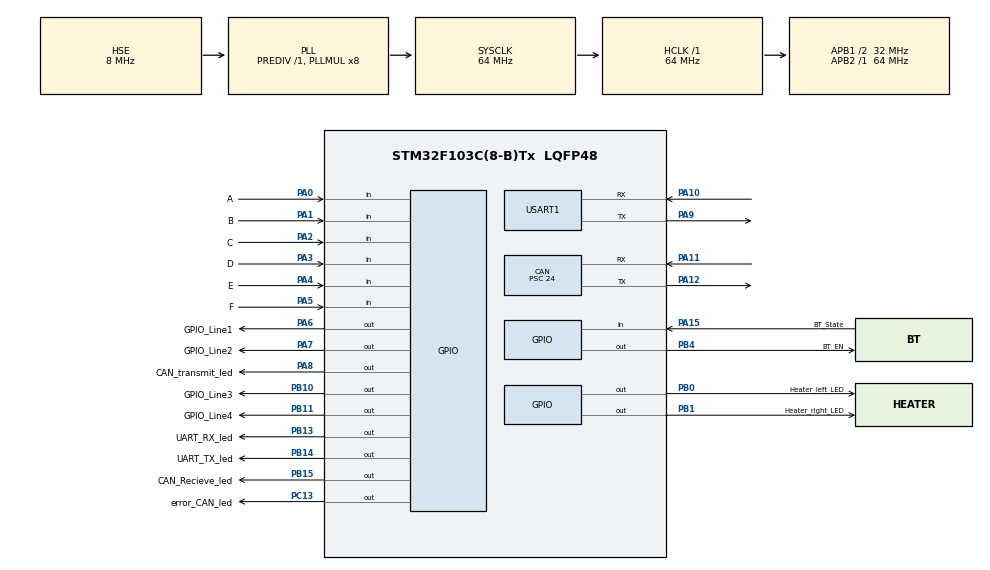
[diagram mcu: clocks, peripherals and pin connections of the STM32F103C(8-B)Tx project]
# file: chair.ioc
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CAN.ABOM=ENABLE
CAN.AWUM=ENABLE
CAN.BS1=CAN_BS1_13TQ
CAN.BS2=CAN_BS2_2TQ
CAN.CalculateBaudRate=83333
CAN.CalculateTimeBit=12000
CAN.CalculateTimeQuantum=750.0
CAN.Mode=CAN_MODE_SILENT_LOOPBACK
CAN.NART=DISABLE
CAN.Prescaler=24
CAN.SJW=CAN_SJW_2TQ
Dma.Request0=USART1_RX
Dma.Request1=USART1_TX
Dma.USART1_RX.0.Direction=DMA_PERIPH_TO_MEMORY
Dma.USART1_RX.0.Instance=DMA1_Channel5
Dma.USART1_RX.0.MemDataAlignment=DMA_MDATAALIGN_BYTE
Dma.USART1_RX.0.MemInc=DMA_MINC_ENABLE
Dma.USART1_RX.0.Mode=DMA_NORMAL
Dma.USART1_RX.0.PeriphDataAlignment=DMA_PDATAALIGN_BYTE
Dma.USART1_RX.0.PeriphInc=DMA_PINC_DISABLE
Dma.USART1_RX.0.Priority=DMA_PRIORITY_LOW
Dma.USART1_TX.1.Direction=DMA_MEMORY_TO_PERIPH
Dma.USART1_TX.1.Instance=DMA1_Channel4
Dma.USART1_TX.1.MemDataAlignment=DMA_MDATAALIGN_BYTE
Dma.USART1_TX.1.MemInc=DMA_MINC_ENABLE
Dma.USART1_TX.1.Mode=DMA_NORMAL
Dma.USART1_TX.1.PeriphDataAlignment=DMA_PDATAALIGN_BYTE
Dma.USART1_TX.1.PeriphInc=DMA_PINC_DISABLE
Dma.USART1_TX.1.Priority=DMA_PRIORITY_LOW
FREERTOS.Tasks01=mainTask,24,128,StartMainTask,Default,NULL,Dynamic,NULL,NULL;CANnetwork,27,128,StartCANnetwork,Default,NULL,Dynamic,NULL,NULL;Bluetooth,27,128,StartBluetooth,Default,NULL,Dynamic,NULL,NULL
IWDG.Prescaler=IWDG_PRESCALER_256
Mcu.Family=STM32F1
Mcu.Name=STM32F103C(8-B)Tx
Mcu.Package=LQFP48
NVIC.CAN1_SCE_IRQn=true\:5\:0\:false\:false\:true\:true\:true\:true\:true
NVIC.DMA1_Channel4_IRQn=true\:5\:0\:false\:false\:true\:true\:false\:true\:true
NVIC.DMA1_Channel5_IRQn=true\:5\:0\:false\:false\:true\:true\:false\:true\:true
NVIC.PriorityGroup=NVIC_PRIORITYGROUP_4
NVIC.TIM4_IRQn=true\:15\:0\:false\:false\:true\:false\:false\:true\:true
NVIC.TimeBase=TIM4_IRQn
NVIC.TimeBaseIP=TIM4
NVIC.USART1_IRQn=true\:5\:0\:false\:false\:true\:true\:true\:true\:true
NVIC.USB_LP_CAN1_RX0_IRQn=true\:5\:0\:false\:false\:true\:true\:true\:true\:true
PA0-WKUP.GPIO_Label=A
PA0-WKUP.GPIO_PuPd=GPIO_PULLDOWN
PA0-WKUP.Signal=GPIO_Input
PA1.GPIO_Label=B
PA1.GPIO_PuPd=GPIO_PULLDOWN
PA1.Signal=GPIO_Input
PA10.Mode=Asynchronous
PA10.Signal=USART1_RX
PA11.Mode=CAN_Activate
PA11.Signal=CAN_RX
PA12.Mode=CAN_Activate
PA12.Signal=CAN_TX
PA13.Mode=Trace_Asynchronous_SW
PA13.Signal=SYS_JTMS-SWDIO
PA14.Mode=Trace_Asynchronous_SW
PA14.Signal=SYS_JTCK-SWCLK
PA15.GPIO_Label=BT_State
PA15.Signal=GPIO_Input
PA2.GPIO_Label=C
PA2.GPIO_PuPd=GPIO_PULLDOWN
PA2.Signal=GPIO_Input
PA3.GPIO_Label=D
PA3.GPIO_PuPd=GPIO_PULLDOWN
PA3.Signal=GPIO_Input
PA4.GPIO_Label=E
PA4.GPIO_PuPd=GPIO_PULLDOWN
PA4.Signal=GPIO_Input
PA5.GPIO_Label=F
PA5.GPIO_PuPd=GPIO_PULLDOWN
PA5.Signal=GPIO_Input
PA6.GPIO_Label=GPIO_Line1
PA6.Signal=GPIO_Output
PA7.GPIO_Label=GPIO_Line2
PA7.Signal=GPIO_Output
PA8.GPIO_Label=CAN_transmit_led
PA8.Signal=GPIO_Output
PA9.Mode=Asynchronous
PA9.Signal=USART1_TX
PB0.GPIO_Label=Heater_left_LED
PB0.GPIO_ModeDefaultOutputPP=GPIO_MODE_OUTPUT_OD
PB0.GPIO_PuPd=GPIO_NOPULL
PB0.Signal=GPIO_Output
PB1.GPIO_Label=Heater_right_LED
PB1.GPIO_ModeDefaultOutputPP=GPIO_MODE_OUTPUT_OD
PB1.GPIO_PuPd=GPIO_NOPULL
PB1.Signal=GPIO_Output
PB10.GPIO_Label=GPIO_Line3
PB10.Signal=GPIO_Output
PB11.GPIO_Label=GPIO_Line4
PB11.Signal=GPIO_Output
PB13.GPIO_Label=UART_RX_led
PB13.GPIO_ModeDefaultOutputPP=GPIO_MODE_OUTPUT_OD
PB13.GPIO_PuPd=GPIO_NOPULL
PB13.Signal=GPIO_Output
PB14.GPIO_Label=UART_TX_led
PB14.GPIO_ModeDefaultOutputPP=GPIO_MODE_OUTPUT_OD
PB14.GPIO_PuPd=GPIO_NOPULL
PB14.Signal=GPIO_Output
PB15.GPIO_Label=CAN_Recieve_led
PB15.GPIO_ModeDefaultOutputPP=GPIO_MODE_OUTPUT_OD
PB15.GPIO_PuPd=GPIO_NOPULL
PB15.Signal=GPIO_Output
PB3.Mode=Trace_Asynchronous_SW
PB3.Signal=SYS_JTDO-TRACESWO
PB4.GPIO_Label=BT_EN
PB4.Signal=GPIO_Output
PC13-TAMPER-RTC.GPIO_Label=error_CAN_led
PC13-TAMPER-RTC.GPIO_ModeDefaultOutputPP=GPIO_MODE_OUTPUT_PP
PC13-TAMPER-RTC.Signal=GPIO_Output
PC14-OSC32_IN.Mode=LSE-External-Oscillator
PC14-OSC32_IN.Signal=RCC_OSC32_IN
PC15-OSC32_OUT.Mode=LSE-External-Oscillator
PC15-OSC32_OUT.Signal=RCC_OSC32_OUT
PD0-OSC_IN.Mode=HSE-External-Oscillator
PD0-OSC_IN.Signal=RCC_OSC_IN
PD1-OSC_OUT.Mode=HSE-External-Oscillator
PD1-OSC_OUT.Signal=RCC_OSC_OUT
ProjectManager.HeapSize=0x200
ProjectManager.StackSize=0x400
ProjectManager.TargetToolchain=EWARM V8.32
RCC.AHBFreq_Value=64000000
RCC.APB1CLKDivider=RCC_HCLK_DIV2
RCC.APB1Freq_Value=32000000
RCC.APB1TimFreq_Value=64000000
RCC.APB2Freq_Value=64000000
RCC.APB2TimFreq_Value=64000000
RCC.HCLKFreq_Value=64000000
RCC.PLLMUL=RCC_PLL_MUL8
RCC.PLLSourceVirtual=RCC_PLLSOURCE_HSE
RCC.SYSCLKFreq_VALUE=64000000
RCC.SYSCLKSource=RCC_SYSCLKSOURCE_PLLCLK
RCC.USBFreq_Value=64000000
USART1.VirtualMode=VM_ASYNC
VP_FREERTOS_VS_CMSIS_V2.Mode=CMSIS_V2
VP_IWDG_VS_IWDG.Mode=IWDG_Activate
VP_SYS_VS_tim4.Mode=TIM4
board=custom

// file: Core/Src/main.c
/* USER CODE BEGIN Header */
/**
  ******************************************************************************
  * @file           : main.c
  * @brief          : Main program body
  ******************************************************************************
  * @attention
  *
  * Copyright (c) 2024 STMicroelectronics.
  * All rights reserved.
  *
  * This software is licensed under terms that can be found in the LICENSE file
  * in the root directory of this software component.
  * If no LICENSE file comes with this software, it is provided AS-IS.
  *
  ******************************************************************************
  */
/* USER CODE END Header */
#include "main.h"
#include "cmsis_os.h"

/* USER CODE BEGIN Includes */
#include "string.h"
#include "stdio.h"

CAN_TxHeaderTypeDef TxHeader;
CAN_RxHeaderTypeDef RxHeader;
uint8_t TxData[8] ={0,};
uint8_t RxData[8] ={0,};
uint8_t Usart_RX_Tail=0, Usart_RX_Head=0;
uint8_t Usart_TX_Tail=0, Usart_TX_Head=0;;
uint32_t TxMailbox=0, ErrorCNT=0;
uint8_t CAN_Tx_buffer_tail=0,CAN_Tx_buffer_head=0,RTS=1;
typedef struct
{
  uint8_t TxData[8];
  uint32_t StdID;
} CAN_TxBuf_TypeDef;
CAN_TxBuf_TypeDef CAN_TxBuf_ring[16];

uint8_t CAN_Rx_buffer_tail=0,CAN_Rx_buffer_head=0;
typedef struct
{
  uint8_t RxData[8];
  uint32_t StdID;
} CAN_RxBuf_TypeDef;
CAN_RxBuf_TypeDef CAN_RxBuf_ring[16];

typedef struct
{
  uint8_t Usart_buf_RX[15];
} Usart_RxBuf_TypeDef;
Usart_RxBuf_TypeDef Usart_RxBuf_ring[16];//message format is Ch232-5, ID-2, DATA 8
typedef struct
{
  uint8_t Usart_buf_TX[15];
} Usart_TxBuf_TypeDef;
Usart_TxBuf_TypeDef Usart_TxBuf_ring[16];//message to send

/* USER CODE END Includes */

CAN_HandleTypeDef hcan;

IWDG_HandleTypeDef hiwdg;

UART_HandleTypeDef huart1;
DMA_HandleTypeDef hdma_usart1_rx;
DMA_HandleTypeDef hdma_usart1_tx;

/* Definitions for mainTask */
osThreadId_t mainTaskHandle;
const osThreadAttr_t mainTask_attributes = {
  .name = "mainTask",
  .stack_size = 128 * 4,
  .priority = (osPriority_t) osPriorityNormal,
};
/* Definitions for CANnetwork */
osThreadId_t CANnetworkHandle;
const osThreadAttr_t CANnetwork_attributes = {
  .name = "CANnetwork",
  .stack_size = 128 * 4,
  .priority = (osPriority_t) osPriorityNormal3,
};
/* Definitions for Bluetooth */
osThreadId_t BluetoothHandle;
const osThreadAttr_t Bluetooth_attributes = {
  .name = "Bluetooth",
  .stack_size = 128 * 4,
  .priority = (osPriority_t) osPriorityNormal3,
};

void SystemClock_Config(void);
static void MX_GPIO_Init(void);
static void MX_DMA_Init(void);
static void MX_CAN_Init(void);
static void MX_IWDG_Init(void);
static void MX_USART1_UART_Init(void);
void StartMainTask(void *argument);
void StartCANnetwork(void *argument);
void StartBluetooth(void *argument);

int main(void)
{

  /* MCU Configuration--------------------------------------------------------*/

  /* Reset of all peripherals, Initializes the Flash interface and the Systick. */
  HAL_Init();

  /* Configure the system clock */
  SystemClock_Config();

  /* Initialize all configured peripherals */
  MX_GPIO_Init();
  MX_DMA_Init();
  MX_CAN_Init();
#ifndef Debug
  MX_IWDG_Init();
#endif
  MX_USART1_UART_Init();
  /* USER CODE BEGIN 2 */
#ifdef Debug
  printf("xyi pizda \r\n");
#endif
  /* USER CODE END 2 */

  /* Init scheduler */
  osKernelInitialize();

  /* Create the thread(s) */
  /* creation of mainTask */
  mainTaskHandle = osThreadNew(StartMainTask, NULL, &mainTask_attributes);

  /* creation of CANnetwork */
  CANnetworkHandle = osThreadNew(StartCANnetwork, NULL, &CANnetwork_attributes);

  /* creation of Bluetooth */
  BluetoothHandle = osThreadNew(StartBluetooth, NULL, &Bluetooth_attributes);

  /* Start scheduler */
  osKernelStart();

  /* We should never get here as control is now taken by the scheduler */
  /* Infinite loop */
  while (1)
  {

  }
}

void SystemClock_Config(void)
{
  RCC_OscInitTypeDef RCC_OscInitStruct = {0};
  RCC_ClkInitTypeDef RCC_ClkInitStruct = {0};

  /** Initializes the RCC Oscillators according to the specified parameters
  * in the RCC_OscInitTypeDef structure.
  */
  RCC_OscInitStruct.OscillatorType = RCC_OSCILLATORTYPE_LSI|RCC_OSCILLATORTYPE_HSE;
  RCC_OscInitStruct.HSEState = RCC_HSE_ON;
  RCC_OscInitStruct.HSEPredivValue = RCC_HSE_PREDIV_DIV1;
  RCC_OscInitStruct.HSIState = RCC_HSI_ON;
  RCC_OscInitStruct.LSIState = RCC_LSI_ON;
  RCC_OscInitStruct.PLL.PLLState = RCC_PLL_ON;
  RCC_OscInitStruct.PLL.PLLSource = RCC_PLLSOURCE_HSE;
  RCC_OscInitStruct.PLL.PLLMUL = RCC_PLL_MUL8;
  if (HAL_RCC_OscConfig(&RCC_OscInitStruct) != HAL_OK)
  {
    Error_Handler();
  }

  /** Initializes the CPU, AHB and APB buses clocks
  */
  RCC_ClkInitStruct.ClockType = RCC_CLOCKTYPE_HCLK|RCC_CLOCKTYPE_SYSCLK
                              |RCC_CLOCKTYPE_PCLK1|RCC_CLOCKTYPE_PCLK2;
  RCC_ClkInitStruct.SYSCLKSource = RCC_SYSCLKSOURCE_PLLCLK;
  RCC_ClkInitStruct.AHBCLKDivider = RCC_SYSCLK_DIV1;
  RCC_ClkInitStruct.APB1CLKDivider = RCC_HCLK_DIV2;
  RCC_ClkInitStruct.APB2CLKDivider = RCC_HCLK_DIV1;

  if (HAL_RCC_ClockConfig(&RCC_ClkInitStruct, FLASH_LATENCY_2) != HAL_OK)
  {
    Error_Handler();
  }
}

static void MX_CAN_Init(void)
{

  /* USER CODE BEGIN CAN_Init 0 */
  CAN_FilterTypeDef sFilterConfig;
  /* USER CODE END CAN_Init 0 */

  hcan.Instance = CAN1;
  hcan.Init.Prescaler = 24;
  hcan.Init.Mode = CAN_MODE_SILENT_LOOPBACK;
  hcan.Init.SyncJumpWidth = CAN_SJW_2TQ;
  hcan.Init.TimeSeg1 = CAN_BS1_13TQ;
  hcan.Init.TimeSeg2 = CAN_BS2_2TQ;
  hcan.Init.TimeTriggeredMode = DISABLE;
  hcan.Init.AutoBusOff = ENABLE;
  hcan.Init.AutoWakeUp = ENABLE;
  hcan.Init.AutoRetransmission = DISABLE;
  hcan.Init.ReceiveFifoLocked = DISABLE;
  hcan.Init.TransmitFifoPriority = DISABLE;
  if (HAL_CAN_Init(&hcan) != HAL_OK)
  {
    Error_Handler();
  }
  /* USER CODE BEGIN CAN_Init 2 */
  sFilterConfig.FilterBank=0;
  sFilterConfig.FilterMode=CAN_FILTERMODE_IDMASK;
  sFilterConfig.FilterScale=CAN_FILTERSCALE_16BIT;
  sFilterConfig.FilterIdHigh=0x0000;
  sFilterConfig.FilterIdLow=0x0000;
  sFilterConfig.FilterMaskIdHigh=0x0000;
  sFilterConfig.FilterMaskIdLow=0x0000;
  sFilterConfig.FilterFIFOAssignment=CAN_RX_FIFO0;
  sFilterConfig.FilterActivation=ENABLE;
  if (HAL_CAN_ConfigFilter(&hcan, &sFilterConfig)!=HAL_OK)
  {
    Error_Handler();
  }
  /* USER CODE END CAN_Init 2 */

}

static void MX_IWDG_Init(void)
{

  hiwdg.Instance = IWDG;
  hiwdg.Init.Prescaler = IWDG_PRESCALER_256;
  hiwdg.Init.Reload = 4095;
  if (HAL_IWDG_Init(&hiwdg) != HAL_OK)
  {
    Error_Handler();
  }

}

static void MX_USART1_UART_Init(void)
{

  huart1.Instance = USART1;
  huart1.Init.BaudRate = 115200;
  huart1.Init.WordLength = UART_WORDLENGTH_8B;
  huart1.Init.StopBits = UART_STOPBITS_1;
  huart1.Init.Parity = UART_PARITY_NONE;
  huart1.Init.Mode = UART_MODE_TX_RX;
  huart1.Init.HwFlowCtl = UART_HWCONTROL_NONE;
  huart1.Init.OverSampling = UART_OVERSAMPLING_16;
  if (HAL_UART_Init(&huart1) != HAL_OK)
  {
    Error_Handler();
  }

}

static void MX_DMA_Init(void)
{

  /* DMA controller clock enable */
  __HAL_RCC_DMA1_CLK_ENABLE();

  /* DMA interrupt init */
  /* DMA1_Channel4_IRQn interrupt configuration */
  HAL_NVIC_SetPriority(DMA1_Channel4_IRQn, 5, 0);
  HAL_NVIC_EnableIRQ(DMA1_Channel4_IRQn);
  /* DMA1_Channel5_IRQn interrupt configuration */
  HAL_NVIC_SetPriority(DMA1_Channel5_IRQn, 5, 0);
  HAL_NVIC_EnableIRQ(DMA1_Channel5_IRQn);

}

static void MX_GPIO_Init(void)
{
  GPIO_InitTypeDef GPIO_InitStruct = {0};

  /* GPIO Ports Clock Enable */
  __HAL_RCC_GPIOC_CLK_ENABLE();
  __HAL_RCC_GPIOD_CLK_ENABLE();
  __HAL_RCC_GPIOA_CLK_ENABLE();
  __HAL_RCC_GPIOB_CLK_ENABLE();

  /*Configure GPIO pin Output Level */
  HAL_GPIO_WritePin(error_CAN_led_GPIO_Port, error_CAN_led_Pin, GPIO_PIN_RESET);

  /*Configure GPIO pin Output Level */
  HAL_GPIO_WritePin(GPIOA, GPIO_Line1_Pin|GPIO_Line2_Pin|CAN_transmit_led_Pin, GPIO_PIN_RESET);

  /*Configure GPIO pin Output Level */
  HAL_GPIO_WritePin(GPIOB, Heater_left_LED_Pin|Heater_right_LED_Pin|GPIO_Line3_Pin|GPIO_Line4_Pin
                          |UART_RX_led_Pin|UART_TX_led_Pin|CAN_Recieve_led_Pin|BT_EN_Pin, GPIO_PIN_RESET);

  /*Configure GPIO pin : error_CAN_led_Pin */
  GPIO_InitStruct.Pin = error_CAN_led_Pin;
  GPIO_InitStruct.Mode = GPIO_MODE_OUTPUT_PP;
  GPIO_InitStruct.Pull = GPIO_NOPULL;
  GPIO_InitStruct.Speed = GPIO_SPEED_FREQ_LOW;
  HAL_GPIO_Init(error_CAN_led_GPIO_Port, &GPIO_InitStruct);

  /*Configure GPIO pins : A_Pin B_Pin C_Pin D_Pin
                           E_Pin F_Pin */
  GPIO_InitStruct.Pin = A_Pin|B_Pin|C_Pin|D_Pin
                          |E_Pin|F_Pin;
  GPIO_InitStruct.Mode = GPIO_MODE_INPUT;
  GPIO_InitStruct.Pull = GPIO_PULLDOWN;
  HAL_GPIO_Init(GPIOA, &GPIO_InitStruct);

  /*Configure GPIO pins : GPIO_Line1_Pin GPIO_Line2_Pin CAN_transmit_led_Pin */
  GPIO_InitStruct.Pin = GPIO_Line1_Pin|GPIO_Line2_Pin|CAN_transmit_led_Pin;
  GPIO_InitStruct.Mode = GPIO_MODE_OUTPUT_PP;
  GPIO_InitStruct.Pull = GPIO_NOPULL;
  GPIO_InitStruct.Speed = GPIO_SPEED_FREQ_LOW;
  HAL_GPIO_Init(GPIOA, &GPIO_InitStruct);

  /*Configure GPIO pins : Heater_left_LED_Pin Heater_right_LED_Pin UART_RX_led_Pin UART_TX_led_Pin
                           CAN_Recieve_led_Pin */
  GPIO_InitStruct.Pin = Heater_left_LED_Pin|Heater_right_LED_Pin|UART_RX_led_Pin|UART_TX_led_Pin
                          |CAN_Recieve_led_Pin;
  GPIO_InitStruct.Mode = GPIO_MODE_OUTPUT_OD;
  GPIO_InitStruct.Pull = GPIO_NOPULL;
  GPIO_InitStruct.Speed = GPIO_SPEED_FREQ_LOW;
  HAL_GPIO_Init(GPIOB, &GPIO_InitStruct);

  /*Configure GPIO pins : GPIO_Line3_Pin GPIO_Line4_Pin BT_EN_Pin */
  GPIO_InitStruct.Pin = GPIO_Line3_Pin|GPIO_Line4_Pin|BT_EN_Pin;
  GPIO_InitStruct.Mode = GPIO_MODE_OUTPUT_PP;
  GPIO_InitStruct.Pull = GPIO_NOPULL;
  GPIO_InitStruct.Speed = GPIO_SPEED_FREQ_LOW;
  HAL_GPIO_Init(GPIOB, &GPIO_InitStruct);

  /*Configure GPIO pin : BT_State_Pin */
  GPIO_InitStruct.Pin = BT_State_Pin;
  GPIO_InitStruct.Mode = GPIO_MODE_INPUT;
  GPIO_InitStruct.Pull = GPIO_NOPULL;
  HAL_GPIO_Init(BT_State_GPIO_Port, &GPIO_InitStruct);

}

/* USER CODE BEGIN 4 */
void HAL_CAN_RxFifo0MsgPendingCallback(CAN_HandleTypeDef *hcan)
{

  if(HAL_CAN_GetRxMessage(hcan, CAN_RX_FIFO0, &RxHeader, CAN_RxBuf_ring[CAN_Rx_buffer_head].RxData)==HAL_OK)
  {
    HAL_GPIO_TogglePin(CAN_Recieve_led_GPIO_Port,CAN_Recieve_led_Pin);
    CAN_RxBuf_ring[CAN_Rx_buffer_head].StdID=RxHeader.StdId;
    CAN_Rx_buffer_head++;
    CAN_Rx_buffer_head=(CAN_Rx_buffer_head>15)?0:CAN_Rx_buffer_head;

  }

}

void HAL_CAN_TxMailbox0CompleteCallback(CAN_HandleTypeDef *hcan)
{

}

void HAL_CAN_ErrorCallback(CAN_HandleTypeDef *hcan)
{
  uint32_t er = HAL_CAN_GetError(hcan);
  HAL_GPIO_WritePin(error_CAN_led_GPIO_Port,error_CAN_led_Pin,GPIO_PIN_SET);  ////////check CAN error somehow and maybe do something
  memset(Usart_TxBuf_ring[Usart_TX_Head].Usart_buf_TX,0,15);
  sprintf((char*)Usart_TxBuf_ring[Usart_TX_Head].Usart_buf_TX ,"ER CAN %1u",er);
 #ifdef Debug
  printf(Usart_TxBuf_ring[Usart_TX_Head].Usart_buf_TX);
#endif
  Usart_TX_Head++;
  Usart_TX_Head=(Usart_TX_Head>15)?0:Usart_TX_Head;
 // HAL_UART_Transmit_DMA(&huart1,(uint8_t*)Ch232,strlen(Ch232));
  ErrorCNT++;

}

void HAL_UART_RxCpltCallback(UART_HandleTypeDef *huart)
{

  if (huart==&huart1)
  {
    Usart_RX_Head++;
    Usart_RX_Head=(Usart_RX_Head>15)?0:Usart_RX_Head;
    HAL_UART_Receive_DMA(&huart1,(uint8_t*)Usart_RxBuf_ring[Usart_RX_Head].Usart_buf_RX,15);
    HAL_GPIO_TogglePin(UART_RX_led_GPIO_Port,UART_RX_led_Pin);

  }

}
void HAL_UART_TxCpltCallback(UART_HandleTypeDef *huart)
{

  if (huart==&huart1)
  {
    if (Usart_TX_Tail!=Usart_TX_Head)
      {
        HAL_UART_Transmit_DMA(&huart1, Usart_TxBuf_ring[Usart_TX_Tail].Usart_buf_TX, 15);
        Usart_TX_Tail++;
        Usart_TX_Tail=(Usart_TX_Tail>15)?0:Usart_TX_Tail;
      }

  }

}

void HAL_UART_ErrorCallback(UART_HandleTypeDef *huart)
{

  if (huart==&huart1)
  {
    uint32_t er=HAL_UART_GetError(&huart1);
    if(er&HAL_UART_ERROR_PE)
    {
    snprintf((char*)Usart_TxBuf_ring[Usart_TX_Head].Usart_buf_TX,15,"Parity error   \n");
    Usart_TX_Head++;
    Usart_TX_Head=(Usart_TX_Head>15)?0:Usart_TX_Head;
    }
    if(er&HAL_UART_ERROR_NE)
    {
          snprintf((char*)Usart_TxBuf_ring[Usart_TX_Head].Usart_buf_TX,15,"Noise error   \n");
    Usart_TX_Head++;
    Usart_TX_Head=(Usart_TX_Head>15)?0:Usart_TX_Head;
    }
    if(er&HAL_UART_ERROR_FE)
    {
          snprintf((char*)Usart_TxBuf_ring[Usart_TX_Head].Usart_buf_TX,15,"Frame error   \n");
    Usart_TX_Head++;
    Usart_TX_Head=(Usart_TX_Head>15)?0:Usart_TX_Head;
    }
    if(er&HAL_UART_ERROR_ORE)
    {
          snprintf((char*)Usart_TxBuf_ring[Usart_TX_Head].Usart_buf_TX,15,"Overrun error \n");
    Usart_TX_Head++;
    Usart_TX_Head=(Usart_TX_Head>15)?0:Usart_TX_Head;
    }
    if(er&HAL_UART_ERROR_DMA)
    {
          snprintf((char*)Usart_TxBuf_ring[Usart_TX_Head].Usart_buf_TX,15,"DMA transf err\n");
    Usart_TX_Head++;
    Usart_TX_Head=(Usart_TX_Head>15)?0:Usart_TX_Head;
    }
    huart->ErrorCode=HAL_UART_ERROR_NONE;

  }

}

/* USER CODE END 4 */

void StartMainTask(void *argument)
{
  /* USER CODE BEGIN 5 */
   struct button_without_fix {
     GPIO_PinState pos_current;
     GPIO_PinState pos_previous;
  };
  struct button_without_fix Bottom_frontward_L= {GPIO_PIN_RESET,GPIO_PIN_RESET}, Bottom_backward_L= {GPIO_PIN_RESET,GPIO_PIN_RESET}, backrest_recline_L= {GPIO_PIN_RESET,GPIO_PIN_RESET},
  backrest_frontward_L= {GPIO_PIN_RESET,GPIO_PIN_RESET}, Headrest_up_L= {GPIO_PIN_RESET,GPIO_PIN_RESET}, Headrest_down_L={GPIO_PIN_RESET,GPIO_PIN_RESET}, M1_L={GPIO_PIN_RESET,GPIO_PIN_RESET},
  M2_L={GPIO_PIN_RESET,GPIO_PIN_RESET},M3_L={GPIO_PIN_RESET,GPIO_PIN_RESET},M_set_L={GPIO_PIN_RESET,GPIO_PIN_RESET},Heater_ON_OFF_L={GPIO_PIN_RESET,GPIO_PIN_RESET},
  Bottom_frontward_R= {GPIO_PIN_RESET,GPIO_PIN_RESET}, Bottom_backward_R= {GPIO_PIN_RESET,GPIO_PIN_RESET}, backrest_recline_R= {GPIO_PIN_RESET,GPIO_PIN_RESET},
  backrest_frontward_R= {GPIO_PIN_RESET,GPIO_PIN_RESET}, Headrest_up_R= {GPIO_PIN_RESET,GPIO_PIN_RESET}, Headrest_down_R={GPIO_PIN_RESET,GPIO_PIN_RESET}, M1_R={GPIO_PIN_RESET,GPIO_PIN_RESET},
  M2_R={GPIO_PIN_RESET,GPIO_PIN_RESET},M3_R={GPIO_PIN_RESET,GPIO_PIN_RESET},M_set_R={GPIO_PIN_RESET,GPIO_PIN_RESET},Heater_ON_OFF_R={GPIO_PIN_RESET,GPIO_PIN_RESET};
  GPIO_PinState matrix_line[6][4];

  /* Infinite loop */
  for(;;)
  {
    //-----------------------------buttton processing-----------------------------------------//
    HAL_GPIO_WritePin(GPIO_Line1_GPIO_Port,GPIO_Line1_Pin,GPIO_PIN_SET);
    HAL_GPIO_WritePin(GPIO_Line2_GPIO_Port,GPIO_Line2_Pin,GPIO_PIN_RESET);
    HAL_GPIO_WritePin(GPIO_Line3_GPIO_Port,GPIO_Line3_Pin,GPIO_PIN_RESET);
    HAL_GPIO_WritePin(GPIO_Line4_GPIO_Port,GPIO_Line4_Pin,GPIO_PIN_RESET);
    osDelay(2);
    matrix_line[0][0]=HAL_GPIO_ReadPin(A_GPIO_Port,A_Pin);
    matrix_line[1][0]=HAL_GPIO_ReadPin(B_GPIO_Port,B_Pin);
    matrix_line[2][0]=HAL_GPIO_ReadPin(C_GPIO_Port,C_Pin);
    matrix_line[3][0]=HAL_GPIO_ReadPin(D_GPIO_Port,D_Pin);
    matrix_line[4][0]=HAL_GPIO_ReadPin(E_GPIO_Port,E_Pin);
    matrix_line[5][0]=HAL_GPIO_ReadPin(F_GPIO_Port,F_Pin);
    osDelay(2);
    HAL_GPIO_WritePin(GPIO_Line1_GPIO_Port,GPIO_Line1_Pin,GPIO_PIN_RESET);
    HAL_GPIO_WritePin(GPIO_Line2_GPIO_Port,GPIO_Line2_Pin,GPIO_PIN_SET);
    HAL_GPIO_WritePin(GPIO_Line3_GPIO_Port,GPIO_Line3_Pin,GPIO_PIN_RESET);
    HAL_GPIO_WritePin(GPIO_Line4_GPIO_Port,GPIO_Line4_Pin,GPIO_PIN_RESET);
    osDelay(2);
    matrix_line[0][1]=HAL_GPIO_ReadPin(A_GPIO_Port,A_Pin);
    matrix_line[1][1]=HAL_GPIO_ReadPin(B_GPIO_Port,B_Pin);
    matrix_line[2][1]=HAL_GPIO_ReadPin(C_GPIO_Port,C_Pin);
    matrix_line[3][1]=HAL_GPIO_ReadPin(D_GPIO_Port,D_Pin);
    matrix_line[4][1]=HAL_GPIO_ReadPin(E_GPIO_Port,E_Pin);
    matrix_line[5][1]=HAL_GPIO_ReadPin(F_GPIO_Port,F_Pin);
    osDelay(2);
    HAL_GPIO_WritePin(GPIO_Line1_GPIO_Port,GPIO_Line1_Pin,GPIO_PIN_RESET);
    HAL_GPIO_WritePin(GPIO_Line2_GPIO_Port,GPIO_Line2_Pin,GPIO_PIN_RESET);
    HAL_GPIO_WritePin(GPIO_Line3_GPIO_Port,GPIO_Line3_Pin,GPIO_PIN_SET);
    HAL_GPIO_WritePin(GPIO_Line4_GPIO_Port,GPIO_Line4_Pin,GPIO_PIN_RESET);
    osDelay(2);
    matrix_line[0][2]=HAL_GPIO_ReadPin(A_GPIO_Port,A_Pin);
    matrix_line[1][2]=HAL_GPIO_ReadPin(B_GPIO_Port,B_Pin);
    matrix_line[2][2]=HAL_GPIO_ReadPin(C_GPIO_Port,C_Pin);
    matrix_line[3][2]=HAL_GPIO_ReadPin(D_GPIO_Port,D_Pin);
    matrix_line[4][2]=HAL_GPIO_ReadPin(E_GPIO_Port,E_Pin);
    matrix_line[5][2]=HAL_GPIO_ReadPin(F_GPIO_Port,F_Pin);
    osDelay(2);
    HAL_GPIO_WritePin(GPIO_Line1_GPIO_Port,GPIO_Line1_Pin,GPIO_PIN_RESET);
    HAL_GPIO_WritePin(GPIO_Line2_GPIO_Port,GPIO_Line2_Pin,GPIO_PIN_RESET);
    HAL_GPIO_WritePin(GPIO_Line3_GPIO_Port,GPIO_Line3_Pin,GPIO_PIN_RESET);
    HAL_GPIO_WritePin(GPIO_Line4_GPIO_Port,GPIO_Line4_Pin,GPIO_PIN_SET);
    osDelay(2);
    matrix_line[0][3]=HAL_GPIO_ReadPin(A_GPIO_Port,A_Pin);
    matrix_line[1][3]=HAL_GPIO_ReadPin(B_GPIO_Port,B_Pin);
    matrix_line[2][3]=HAL_GPIO_ReadPin(C_GPIO_Port,C_Pin);
    matrix_line[3][3]=HAL_GPIO_ReadPin(D_GPIO_Port,D_Pin);
    matrix_line[4][3]=HAL_GPIO_ReadPin(E_GPIO_Port,E_Pin);
    matrix_line[5][3]=HAL_GPIO_ReadPin(F_GPIO_Port,F_Pin);

    Bottom_frontward_L.pos_previous=Bottom_frontward_L.pos_current;
    Bottom_frontward_L.pos_current=matrix_line[0][0];

    Bottom_backward_L.pos_previous=Bottom_backward_L.pos_current;
    Bottom_backward_L.pos_current=matrix_line[0][1];

    backrest_recline_L.pos_previous=backrest_recline_L.pos_current;
    backrest_recline_L.pos_current=matrix_line[1][0];

    backrest_frontward_L.pos_previous=backrest_frontward_L.pos_current;
    backrest_frontward_L.pos_current=matrix_line[1][1];

    Headrest_up_L.pos_previous=Headrest_up_L.pos_current;
    Headrest_up_L.pos_current=matrix_line[2][0];

    Headrest_down_L.pos_previous=Headrest_down_L.pos_current;
    Headrest_down_L.pos_current=matrix_line[2][1];

    M1_L.pos_previous=M1_L.pos_current;
    M1_L.pos_current=matrix_line[3][0];

    M2_L.pos_previous=M2_L.pos_current;
    M2_L.pos_current=matrix_line[3][1];

    M3_L.pos_previous=M3_L.pos_current;
    M3_L.pos_current=matrix_line[4][0];

    M_set_L.pos_previous=M_set_L.pos_current;
    M_set_L.pos_current=matrix_line[4][1];

    Heater_ON_OFF_L.pos_previous=Heater_ON_OFF_L.pos_current;
    Heater_ON_OFF_L.pos_current=matrix_line[5][0];
    //---------------------right------------------------------//
    Bottom_frontward_R.pos_previous=Bottom_frontward_R.pos_current;
    Bottom_frontward_R.pos_current=matrix_line[0][2];

    Bottom_backward_R.pos_previous=Bottom_backward_R.pos_current;
    Bottom_backward_R.pos_current=matrix_line[0][3];

    backrest_recline_R.pos_previous=backrest_recline_R.pos_current;
    backrest_recline_R.pos_current=matrix_line[1][2];

    backrest_frontward_R.pos_previous=backrest_frontward_R.pos_current;
    backrest_frontward_R.pos_current=matrix_line[1][3];

    Headrest_up_R.pos_previous=Headrest_up_R.pos_current;
    Headrest_up_R.pos_current=matrix_line[2][2];

    Headrest_down_R.pos_previous=Headrest_down_R.pos_current;
    Headrest_down_R.pos_current=matrix_line[2][3];

    M1_R.pos_previous=M1_R.pos_current;
    M1_R.pos_current=matrix_line[3][2];

    M2_R.pos_previous=M2_R.pos_current;
    M2_R.pos_current=matrix_line[3][3];

    M3_R.pos_previous=M3_R.pos_current;
    M3_R.pos_current=matrix_line[4][2];

    M_set_R.pos_previous=M_set_R.pos_current;
    M_set_R.pos_current=matrix_line[4][3];

    Heater_ON_OFF_R.pos_previous=Heater_ON_OFF_R.pos_current;
    Heater_ON_OFF_R.pos_current=matrix_line[5][2];

    if ((Bottom_frontward_L.pos_previous==GPIO_PIN_SET)&&(Bottom_frontward_L.pos_current==GPIO_PIN_SET))
    {
      CAN_TxBuf_ring[CAN_Tx_buffer_head].StdID=0x028C;
      CAN_TxBuf_ring[CAN_Tx_buffer_head].TxData[7]=0x00;
      CAN_TxBuf_ring[CAN_Tx_buffer_head].TxData[6]=0x00;
      CAN_TxBuf_ring[CAN_Tx_buffer_head].TxData[5]=0x00;
      CAN_TxBuf_ring[CAN_Tx_buffer_head].TxData[4]=0x00;
      CAN_TxBuf_ring[CAN_Tx_buffer_head].TxData[3]=0x00;
      CAN_TxBuf_ring[CAN_Tx_buffer_head].TxData[2]=0x00;
      CAN_TxBuf_ring[CAN_Tx_buffer_head].TxData[1]=0x00;
      CAN_TxBuf_ring[CAN_Tx_buffer_head].TxData[0]=0x80; //offset 7 len 1
      CAN_Tx_buffer_head++;
      CAN_Tx_buffer_head=(CAN_Tx_buffer_head>15)?0:CAN_Tx_buffer_head;
    }
    if ((Bottom_backward_L.pos_previous==GPIO_PIN_SET)&&(Bottom_backward_L.pos_current==GPIO_PIN_SET))
    {
      CAN_TxBuf_ring[CAN_Tx_buffer_head].StdID=0x028C;
      CAN_TxBuf_ring[CAN_Tx_buffer_head].TxData[7]=0x00;
      CAN_TxBuf_ring[CAN_Tx_buffer_head].TxData[6]=0x00;
      CAN_TxBuf_ring[CAN_Tx_buffer_head].TxData[5]=0x00;
      CAN_TxBuf_ring[CAN_Tx_buffer_head].TxData[4]=0x00;
      CAN_TxBuf_ring[CAN_Tx_buffer_head].TxData[3]=0x00;
      CAN_TxBuf_ring[CAN_Tx_buffer_head].TxData[2]=0x00;
      CAN_TxBuf_ring[CAN_Tx_buffer_head].TxData[1]=0x00;
      CAN_TxBuf_ring[CAN_Tx_buffer_head].TxData[0]=0x40; //offset 6 len 1
      CAN_Tx_buffer_head++;
      CAN_Tx_buffer_head=(CAN_Tx_buffer_head>15)?0:CAN_Tx_buffer_head;
    }
    if ((backrest_recline_L.pos_previous==GPIO_PIN_SET)&&(backrest_recline_L.pos_current==GPIO_PIN_SET))
    {
      CAN_TxBuf_ring[CAN_Tx_buffer_head].StdID=0x028C;
      CAN_TxBuf_ring[CAN_Tx_buffer_head].TxData[7]=0x00;
      CAN_TxBuf_ring[CAN_Tx_buffer_head].TxData[6]=0x00;
      CAN_TxBuf_ring[CAN_Tx_buffer_head].TxData[5]=0x00;
      CAN_TxBuf_ring[CAN_Tx_buffer_head].TxData[4]=0x00;
      CAN_TxBuf_ring[CAN_Tx_buffer_head].TxData[3]=0x00;
      CAN_TxBuf_ring[CAN_Tx_buffer_head].TxData[2]=0x00;
      CAN_TxBuf_ring[CAN_Tx_buffer_head].TxData[1]=0x00;
      CAN_TxBuf_ring[CAN_Tx_buffer_head].TxData[0]=0x40; //offset 6 len 1
      CAN_Tx_buffer_head++;
      CAN_Tx_buffer_head=(CAN_Tx_buffer_head>15)?0:CAN_Tx_buffer_head;
    }

#ifndef Debug
    HAL_IWDG_Refresh(&hiwdg);
#endif
    osDelay(100);
  }
  /* USER CODE END 5 */
}

void StartCANnetwork(void *argument)
{
  /* USER CODE BEGIN StartCANnetwork */
  snprintf((char*)Usart_TxBuf_ring[Usart_TX_Head].Usart_buf_TX,15,"CAN Network   \n");
  Usart_TX_Head++;
  Usart_TX_Head=(Usart_TX_Head>15)?0:Usart_TX_Head;
  TxHeader.StdId=0x379;
  TxHeader.ExtId=0;
  TxHeader.RTR=CAN_RTR_DATA;
  TxHeader.IDE=CAN_ID_STD;
  TxHeader.DLC=8;
  TxHeader.TransmitGlobalTime=DISABLE;
  uint8_t iter=0;
  //------------TX-DATA-------------//
  CAN_TxBuf_ring[0].TxData[0]=2;
  CAN_TxBuf_ring[0].TxData[1]=3;
  CAN_TxBuf_ring[0].TxData[2]=0x55;
  CAN_TxBuf_ring[0].TxData[3]=0xAA;
  CAN_TxBuf_ring[0].TxData[4]=4;
  CAN_TxBuf_ring[0].TxData[5]=5;
  CAN_TxBuf_ring[0].TxData[6]=0x55;
  CAN_TxBuf_ring[0].TxData[7]=0xAA;
  //------------------------------//
  HAL_CAN_Start(&hcan);
  HAL_CAN_ActivateNotification(&hcan, CAN_IT_RX_FIFO0_MSG_PENDING|CAN_IT_ERROR|CAN_IT_BUSOFF|CAN_IT_LAST_ERROR_CODE);
  osDelay(2000);  //Bluetooth should be first
  /* Infinite loop */
  for(;;)
  {
    //---------------------send engine on---------------------------//
    if (iter>=0)
    {
      CAN_TxBuf_ring[CAN_Tx_buffer_head].StdID=0x0001;
      CAN_TxBuf_ring[CAN_Tx_buffer_head].TxData[7]=0x00;
      CAN_TxBuf_ring[CAN_Tx_buffer_head].TxData[6]=0x00;
      CAN_TxBuf_ring[CAN_Tx_buffer_head].TxData[5]=0x00;
      CAN_TxBuf_ring[CAN_Tx_buffer_head].TxData[4]=0x00;
      CAN_TxBuf_ring[CAN_Tx_buffer_head].TxData[3]=0x00;
      CAN_TxBuf_ring[CAN_Tx_buffer_head].TxData[2]=0x00;
      CAN_TxBuf_ring[CAN_Tx_buffer_head].TxData[1]=0x00;
      CAN_TxBuf_ring[CAN_Tx_buffer_head].TxData[0]=0xF8;
      CAN_Tx_buffer_head++;
      CAN_Tx_buffer_head=(CAN_Tx_buffer_head>15)?0:CAN_Tx_buffer_head;
      iter=0;
    }
    //-----------------------send message to CAN-----------------------------//
    if (CAN_Tx_buffer_tail!=CAN_Tx_buffer_head)
    {
      TxHeader.StdId=CAN_TxBuf_ring[CAN_Tx_buffer_tail].StdID;
      while (HAL_CAN_GetTxMailboxesFreeLevel(&hcan)==0);
      if (HAL_CAN_AddTxMessage(&hcan,&TxHeader,CAN_TxBuf_ring[CAN_Tx_buffer_tail].TxData,&TxMailbox)!=HAL_OK)
      {
        snprintf((char*)Usart_TxBuf_ring[Usart_TX_Head].Usart_buf_TX,15,"ER SEND to CAN\n");
#ifdef Debug
  printf(Usart_TxBuf_ring[Usart_TX_Head].Usart_buf_TX);
#endif
//        Usart_TX_Head++;
//        Usart_TX_Head=(Usart_TX_Head>15)?0:Usart_TX_Head;
      }
 #ifdef Debug
 // printf((char*)CAN_TxBuf_ring[CAN_Tx_buffer_tail].StdID);
#endif
      CAN_Tx_buffer_tail++;
      CAN_Tx_buffer_tail=(CAN_Tx_buffer_tail>15)?0:CAN_Tx_buffer_tail;
    // SET USART TX ACCORDING TO THIS RING/////////////////////
    }
    osDelay(10);
    iter++;

  }
  /* USER CODE END StartCANnetwork */
}

void StartBluetooth(void *argument)
{
  /* USER CODE BEGIN StartBluetooth */
  HAL_UART_Receive_DMA(&huart1,(uint8_t*)Usart_RxBuf_ring[Usart_RX_Head].Usart_buf_RX,15);
  /* Infinite loop */
  for(;;)
  {
    //-----------------------send message to UART-----------------------------//
    if (CAN_Rx_buffer_tail!=CAN_Rx_buffer_head)
      {
        snprintf((char*)Usart_TxBuf_ring[Usart_TX_Head].Usart_buf_TX,15,"%04X %X %X %X %X%X%X%X%X\n", CAN_RxBuf_ring[CAN_Rx_buffer_tail].StdID, CAN_RxBuf_ring[CAN_Rx_buffer_tail].RxData[7],CAN_RxBuf_ring[CAN_Rx_buffer_tail].RxData[6],
                 CAN_RxBuf_ring[CAN_Rx_buffer_tail].RxData[5],CAN_RxBuf_ring[CAN_Rx_buffer_tail].RxData[4],CAN_RxBuf_ring[CAN_Rx_buffer_tail].RxData[3],CAN_RxBuf_ring[CAN_Rx_buffer_tail].RxData[2],
                 CAN_RxBuf_ring[CAN_Rx_buffer_tail].RxData[1],CAN_RxBuf_ring[CAN_Rx_buffer_tail].RxData[0]);
        Usart_TX_Head++;
        Usart_TX_Head=(Usart_TX_Head>15)?0:Usart_TX_Head;
        CAN_Rx_buffer_tail++;
        CAN_Rx_buffer_tail=(CAN_Rx_buffer_tail>15)?0:CAN_Rx_buffer_tail;
      }
    if (Usart_TX_Tail!=Usart_TX_Head)
      {
        HAL_UART_Transmit_DMA(&huart1, Usart_TxBuf_ring[Usart_TX_Tail].Usart_buf_TX, 15);
        Usart_TX_Tail++;
        Usart_TX_Tail=(Usart_TX_Tail>15)?0:Usart_TX_Tail;
      }
    //----------------------send message to CAN-------------------------------------//
    if (Usart_RX_Tail!=Usart_RX_Head)
    {
      if (Usart_RxBuf_ring[Usart_RX_Tail].Usart_buf_RX[0]=='C'&&Usart_RxBuf_ring[Usart_RX_Tail].Usart_buf_RX[1]=='h'&&Usart_RxBuf_ring[Usart_RX_Tail].Usart_buf_RX[2]=='2'&&
          Usart_RxBuf_ring[Usart_RX_Tail].Usart_buf_RX[3]=='3'&&Usart_RxBuf_ring[Usart_RX_Tail].Usart_buf_RX[4]=='2')  //equal Ch232 then
      {
        CAN_TxBuf_ring[CAN_Tx_buffer_head].StdID=(Usart_RxBuf_ring[Usart_RX_Tail].Usart_buf_RX[5]<<8)|Usart_RxBuf_ring[Usart_RX_Tail].Usart_buf_RX[6];
        CAN_TxBuf_ring[CAN_Tx_buffer_head].TxData[7]=Usart_RxBuf_ring[Usart_RX_Tail].Usart_buf_RX[7];
        CAN_TxBuf_ring[CAN_Tx_buffer_head].TxData[6]=Usart_RxBuf_ring[Usart_RX_Tail].Usart_buf_RX[8];
        CAN_TxBuf_ring[CAN_Tx_buffer_head].TxData[5]=Usart_RxBuf_ring[Usart_RX_Tail].Usart_buf_RX[9];
        CAN_TxBuf_ring[CAN_Tx_buffer_head].TxData[4]=Usart_RxBuf_ring[Usart_RX_Tail].Usart_buf_RX[10];
        CAN_TxBuf_ring[CAN_Tx_buffer_head].TxData[3]=Usart_RxBuf_ring[Usart_RX_Tail].Usart_buf_RX[11];
        CAN_TxBuf_ring[CAN_Tx_buffer_head].TxData[2]=Usart_RxBuf_ring[Usart_RX_Tail].Usart_buf_RX[12];
        CAN_TxBuf_ring[CAN_Tx_buffer_head].TxData[1]=Usart_RxBuf_ring[Usart_RX_Tail].Usart_buf_RX[13];
        CAN_TxBuf_ring[CAN_Tx_buffer_head].TxData[0]=Usart_RxBuf_ring[Usart_RX_Tail].Usart_buf_RX[14];
        CAN_Tx_buffer_head++;
        CAN_Tx_buffer_head=(CAN_Tx_buffer_head>15)?0:CAN_Tx_buffer_head;

      }
      Usart_RX_Tail++;
      Usart_RX_Tail=(Usart_RX_Tail>15)?0:Usart_RX_Tail;
    }
    osDelay(100);
  }
  /* USER CODE END StartBluetooth */
}

void HAL_TIM_PeriodElapsedCallback(TIM_HandleTypeDef *htim)
{
  if (htim->Instance == TIM4) {
    HAL_IncTick();
  }
}

void Error_Handler(void)
{
  __disable_irq();
  while (1)
  {
  }
}
